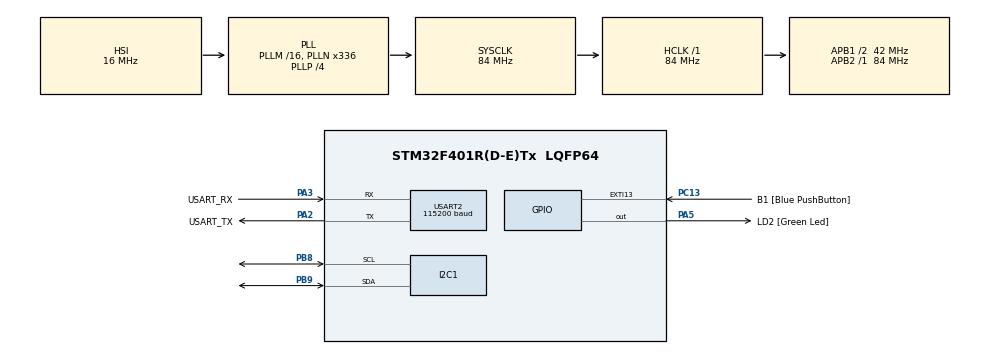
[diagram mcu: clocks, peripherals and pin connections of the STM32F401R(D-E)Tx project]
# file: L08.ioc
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Dma.I2C1_RX.0.Direction=DMA_PERIPH_TO_MEMORY
Dma.I2C1_RX.0.FIFOMode=DMA_FIFOMODE_DISABLE
Dma.I2C1_RX.0.Instance=DMA1_Stream0
Dma.I2C1_RX.0.MemDataAlignment=DMA_MDATAALIGN_BYTE
Dma.I2C1_RX.0.MemInc=DMA_MINC_ENABLE
Dma.I2C1_RX.0.Mode=DMA_NORMAL
Dma.I2C1_RX.0.PeriphDataAlignment=DMA_PDATAALIGN_BYTE
Dma.I2C1_RX.0.PeriphInc=DMA_PINC_DISABLE
Dma.I2C1_RX.0.Priority=DMA_PRIORITY_LOW
Dma.I2C1_TX.1.Direction=DMA_MEMORY_TO_PERIPH
Dma.I2C1_TX.1.FIFOMode=DMA_FIFOMODE_DISABLE
Dma.I2C1_TX.1.Instance=DMA1_Stream7
Dma.I2C1_TX.1.MemDataAlignment=DMA_MDATAALIGN_BYTE
Dma.I2C1_TX.1.MemInc=DMA_MINC_ENABLE
Dma.I2C1_TX.1.Mode=DMA_NORMAL
Dma.I2C1_TX.1.PeriphDataAlignment=DMA_PDATAALIGN_BYTE
Dma.I2C1_TX.1.PeriphInc=DMA_PINC_DISABLE
Dma.I2C1_TX.1.Priority=DMA_PRIORITY_LOW
Dma.Request0=I2C1_RX
Dma.Request1=I2C1_TX
Dma.Request2=USART2_TX
Dma.USART2_TX.2.Direction=DMA_MEMORY_TO_PERIPH
Dma.USART2_TX.2.FIFOMode=DMA_FIFOMODE_DISABLE
Dma.USART2_TX.2.Instance=DMA1_Stream6
Dma.USART2_TX.2.MemDataAlignment=DMA_MDATAALIGN_BYTE
Dma.USART2_TX.2.MemInc=DMA_MINC_ENABLE
Dma.USART2_TX.2.Mode=DMA_NORMAL
Dma.USART2_TX.2.PeriphDataAlignment=DMA_PDATAALIGN_BYTE
Dma.USART2_TX.2.PeriphInc=DMA_PINC_DISABLE
Dma.USART2_TX.2.Priority=DMA_PRIORITY_LOW
Mcu.Family=STM32F4
Mcu.Name=STM32F401R(D-E)Tx
Mcu.Package=LQFP64
NVIC.DMA1_Stream0_IRQn=true\:1\:0\:true\:false\:true\:false\:true\:true
NVIC.DMA1_Stream6_IRQn=true\:1\:0\:true\:false\:true\:false\:true\:true
NVIC.DMA1_Stream7_IRQn=true\:1\:0\:true\:false\:true\:false\:true\:true
NVIC.I2C1_ER_IRQn=true\:0\:0\:false\:false\:true\:true\:true\:true
NVIC.I2C1_EV_IRQn=true\:0\:0\:false\:false\:true\:true\:true\:true
NVIC.PriorityGroup=NVIC_PRIORITYGROUP_1
NVIC.TIM3_IRQn=true\:0\:0\:false\:false\:true\:true\:true\:true
NVIC.USART2_IRQn=true\:0\:0\:false\:false\:true\:true\:true\:true
PA13.GPIO_Label=TMS
PA13.Mode=Serial_Wire
PA13.Signal=SYS_JTMS-SWDIO
PA14.GPIO_Label=TCK
PA14.Mode=Serial_Wire
PA14.Signal=SYS_JTCK-SWCLK
PA2.GPIO_Label=USART_TX
PA2.GPIO_Mode=GPIO_MODE_AF_PP
PA2.GPIO_PuPd=GPIO_NOPULL
PA2.GPIO_Speed=GPIO_SPEED_FREQ_LOW
PA2.Mode=Asynchronous
PA2.Signal=USART2_TX
PA3.GPIO_Label=USART_RX
PA3.GPIO_Mode=GPIO_MODE_AF_PP
PA3.GPIO_PuPd=GPIO_NOPULL
PA3.GPIO_Speed=GPIO_SPEED_FREQ_LOW
PA3.Mode=Asynchronous
PA3.Signal=USART2_RX
PA5.GPIO_Label=LD2 [Green Led]
PA5.GPIO_Mode=GPIO_MODE_OUTPUT_PP
PA5.GPIO_PuPd=GPIO_NOPULL
PA5.GPIO_Speed=GPIO_SPEED_FREQ_LOW
PA5.Signal=GPIO_Output
PB3.GPIO_Label=SWO
PB3.Signal=SYS_JTDO-SWO
PB8.Mode=I2C
PB8.Signal=I2C1_SCL
PB9.Mode=I2C
PB9.Signal=I2C1_SDA
PC13-ANTI_TAMP.GPIO_Label=B1 [Blue PushButton]
PC13-ANTI_TAMP.GPIO_ModeDefaultEXTI=GPIO_MODE_IT_FALLING
PC13-ANTI_TAMP.GPIO_PuPd=GPIO_NOPULL
PC13-ANTI_TAMP.Signal=GPXTI13
PC14-OSC32_IN.Mode=LSE-External-Oscillator
PC14-OSC32_IN.Signal=RCC_OSC32_IN
PC15-OSC32_OUT.Mode=LSE-External-Oscillator
PC15-OSC32_OUT.Signal=RCC_OSC32_OUT
PH0\ -\ OSC_IN.Mode=HSE-External-Clock-Source
PH0\ -\ OSC_IN.Signal=RCC_OSC_IN
PH1\ -\ OSC_OUT.Mode=HSE-External-Clock-Source
PH1\ -\ OSC_OUT.Signal=RCC_OSC_OUT
ProjectManager.HeapSize=0x200
ProjectManager.StackSize=0x400
ProjectManager.TargetToolchain=STM32CubeIDE
RCC.48MHZClocksFreq_Value=48000000
RCC.AHBFreq_Value=84000000
RCC.APB1CLKDivider=RCC_HCLK_DIV2
RCC.APB1Freq_Value=42000000
RCC.APB1TimFreq_Value=84000000
RCC.APB2Freq_Value=84000000
RCC.APB2TimFreq_Value=84000000
RCC.CortexFreq_Value=84000000
RCC.HCLKFreq_Value=84000000
RCC.HSE_VALUE=8000000
RCC.HSI_VALUE=16000000
RCC.PLLN=336
RCC.PLLP=RCC_PLLP_DIV4
RCC.PLLQ=7
RCC.SYSCLKFreq_VALUE=84000000
RCC.SYSCLKSource=RCC_SYSCLKSOURCE_PLLCLK
RCC.VCOOutputFreq_Value=336000000
TIM3.Period=9999
TIM3.Prescaler=8399
USART2.BaudRate=115200
USART2.VirtualMode=VM_ASYNC
VP_TIM3_VS_ClockSourceINT.Mode=Internal
board=NUCLEO-F401RE

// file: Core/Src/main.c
/* USER CODE BEGIN Header */
/**
  ******************************************************************************
  * @file           : main.c
  * @brief          : Main program body
  ******************************************************************************
  * @attention
  *
  * Copyright (c) 2024 STMicroelectronics.
  * All rights reserved.
  *
  * This software is licensed under terms that can be found in the LICENSE file
  * in the root directory of this software component.
  * If no LICENSE file comes with this software, it is provided AS-IS.
  *
  ******************************************************************************
  */
/* USER CODE END Header */
#include "main.h"

/* USER CODE BEGIN Includes */
#include <stdio.h>
/* USER CODE END Includes */

I2C_HandleTypeDef hi2c1;
DMA_HandleTypeDef hdma_i2c1_rx;
DMA_HandleTypeDef hdma_i2c1_tx;

TIM_HandleTypeDef htim3;

UART_HandleTypeDef huart2;
DMA_HandleTypeDef hdma_usart2_tx;

void SystemClock_Config(void);
static void MX_GPIO_Init(void);
static void MX_DMA_Init(void);
static void MX_USART2_UART_Init(void);
static void MX_I2C1_Init(void);
static void MX_TIM3_Init(void);

/* USER CODE BEGIN 0 */
uint16_t address = 0b01010000;			// write address of LIS2DE; accelerometer of my board
uint16_t LIS2DE12_address = 0b0011000;	// write address of LIS2DE12
uint8_t ctrl_reg1[] = {0x20, 0b00010111};	// address of ctrl_reg1 and byte to configure it
uint8_t OUT_X = 0b10101001;	// address of first axis measurement
int8_t array[5]; 				// array to store acceleration bytes
char string[128];				// string to be transmitted through UART
int length;						// length of string
/* USER CODE END 0 */

int main(void)
{

  /* MCU Configuration--------------------------------------------------------*/

  /* Reset of all peripherals, Initializes the Flash interface and the Systick. */
  HAL_Init();

  /* Configure the system clock */
  SystemClock_Config();

  /* Initialize all configured peripherals */
  MX_GPIO_Init();
  MX_DMA_Init();
  MX_USART2_UART_Init();
  MX_I2C1_Init();
  MX_TIM3_Init();
  /* USER CODE BEGIN 2 */
  // Ok to block/use polling for configuring since we know the processor doesn't have to do anything else
  if (HAL_I2C_Master_Transmit(&hi2c1, LIS2DE12_address, ctrl_reg1, 2, 50) == HAL_OK) {
	  address = LIS2DE12_address; // change address for rest of the code if different accelerometer
  } else {
	  HAL_I2C_Master_Transmit(&hi2c1, address, ctrl_reg1, 2, 50);
  }
  HAL_I2C_Master_Transmit(&hi2c1, address, &OUT_X, 1, 50);	// transmit address of first axis

  HAL_TIM_Base_Start_IT(&htim3);
  /* USER CODE END 2 */

  /* Infinite loop */
  while (1)
  {

  }
}

void SystemClock_Config(void)
{
  RCC_OscInitTypeDef RCC_OscInitStruct = {0};
  RCC_ClkInitTypeDef RCC_ClkInitStruct = {0};

  /** Configure the main internal regulator output voltage
  */
  __HAL_RCC_PWR_CLK_ENABLE();
  __HAL_PWR_VOLTAGESCALING_CONFIG(PWR_REGULATOR_VOLTAGE_SCALE2);

  /** Initializes the RCC Oscillators according to the specified parameters
  * in the RCC_OscInitTypeDef structure.
  */
  RCC_OscInitStruct.OscillatorType = RCC_OSCILLATORTYPE_HSI;
  RCC_OscInitStruct.HSIState = RCC_HSI_ON;
  RCC_OscInitStruct.HSICalibrationValue = RCC_HSICALIBRATION_DEFAULT;
  RCC_OscInitStruct.PLL.PLLState = RCC_PLL_ON;
  RCC_OscInitStruct.PLL.PLLSource = RCC_PLLSOURCE_HSI;
  RCC_OscInitStruct.PLL.PLLM = 16;
  RCC_OscInitStruct.PLL.PLLN = 336;
  RCC_OscInitStruct.PLL.PLLP = RCC_PLLP_DIV4;
  RCC_OscInitStruct.PLL.PLLQ = 7;
  if (HAL_RCC_OscConfig(&RCC_OscInitStruct) != HAL_OK)
  {
    Error_Handler();
  }

  /** Initializes the CPU, AHB and APB buses clocks
  */
  RCC_ClkInitStruct.ClockType = RCC_CLOCKTYPE_HCLK|RCC_CLOCKTYPE_SYSCLK
                              |RCC_CLOCKTYPE_PCLK1|RCC_CLOCKTYPE_PCLK2;
  RCC_ClkInitStruct.SYSCLKSource = RCC_SYSCLKSOURCE_PLLCLK;
  RCC_ClkInitStruct.AHBCLKDivider = RCC_SYSCLK_DIV1;
  RCC_ClkInitStruct.APB1CLKDivider = RCC_HCLK_DIV2;
  RCC_ClkInitStruct.APB2CLKDivider = RCC_HCLK_DIV1;

  if (HAL_RCC_ClockConfig(&RCC_ClkInitStruct, FLASH_LATENCY_2) != HAL_OK)
  {
    Error_Handler();
  }
}

static void MX_I2C1_Init(void)
{

  hi2c1.Instance = I2C1;
  hi2c1.Init.ClockSpeed = 100000;
  hi2c1.Init.DutyCycle = I2C_DUTYCYCLE_2;
  hi2c1.Init.OwnAddress1 = 0;
  hi2c1.Init.AddressingMode = I2C_ADDRESSINGMODE_7BIT;
  hi2c1.Init.DualAddressMode = I2C_DUALADDRESS_DISABLE;
  hi2c1.Init.OwnAddress2 = 0;
  hi2c1.Init.GeneralCallMode = I2C_GENERALCALL_DISABLE;
  hi2c1.Init.NoStretchMode = I2C_NOSTRETCH_DISABLE;
  if (HAL_I2C_Init(&hi2c1) != HAL_OK)
  {
    Error_Handler();
  }

}

static void MX_TIM3_Init(void)
{

  TIM_ClockConfigTypeDef sClockSourceConfig = {0};
  TIM_MasterConfigTypeDef sMasterConfig = {0};

  htim3.Instance = TIM3;
  htim3.Init.Prescaler = 8399;
  htim3.Init.CounterMode = TIM_COUNTERMODE_UP;
  htim3.Init.Period = 9999;
  htim3.Init.ClockDivision = TIM_CLOCKDIVISION_DIV1;
  htim3.Init.AutoReloadPreload = TIM_AUTORELOAD_PRELOAD_DISABLE;
  if (HAL_TIM_Base_Init(&htim3) != HAL_OK)
  {
    Error_Handler();
  }
  sClockSourceConfig.ClockSource = TIM_CLOCKSOURCE_INTERNAL;
  if (HAL_TIM_ConfigClockSource(&htim3, &sClockSourceConfig) != HAL_OK)
  {
    Error_Handler();
  }
  sMasterConfig.MasterOutputTrigger = TIM_TRGO_RESET;
  sMasterConfig.MasterSlaveMode = TIM_MASTERSLAVEMODE_DISABLE;
  if (HAL_TIMEx_MasterConfigSynchronization(&htim3, &sMasterConfig) != HAL_OK)
  {
    Error_Handler();
  }

}

static void MX_USART2_UART_Init(void)
{

  huart2.Instance = USART2;
  huart2.Init.BaudRate = 115200;
  huart2.Init.WordLength = UART_WORDLENGTH_8B;
  huart2.Init.StopBits = UART_STOPBITS_1;
  huart2.Init.Parity = UART_PARITY_NONE;
  huart2.Init.Mode = UART_MODE_TX_RX;
  huart2.Init.HwFlowCtl = UART_HWCONTROL_NONE;
  huart2.Init.OverSampling = UART_OVERSAMPLING_16;
  if (HAL_UART_Init(&huart2) != HAL_OK)
  {
    Error_Handler();
  }

}

static void MX_DMA_Init(void)
{

  /* DMA controller clock enable */
  __HAL_RCC_DMA1_CLK_ENABLE();

  /* DMA interrupt init */
  /* DMA1_Stream0_IRQn interrupt configuration */
  HAL_NVIC_SetPriority(DMA1_Stream0_IRQn, 1, 0);
  HAL_NVIC_EnableIRQ(DMA1_Stream0_IRQn);
  /* DMA1_Stream6_IRQn interrupt configuration */
  HAL_NVIC_SetPriority(DMA1_Stream6_IRQn, 1, 0);
  HAL_NVIC_EnableIRQ(DMA1_Stream6_IRQn);
  /* DMA1_Stream7_IRQn interrupt configuration */
  HAL_NVIC_SetPriority(DMA1_Stream7_IRQn, 1, 0);
  HAL_NVIC_EnableIRQ(DMA1_Stream7_IRQn);

}

static void MX_GPIO_Init(void)
{
  GPIO_InitTypeDef GPIO_InitStruct = {0};

  /* GPIO Ports Clock Enable */
  __HAL_RCC_GPIOC_CLK_ENABLE();
  __HAL_RCC_GPIOH_CLK_ENABLE();
  __HAL_RCC_GPIOA_CLK_ENABLE();
  __HAL_RCC_GPIOB_CLK_ENABLE();

  /*Configure GPIO pin Output Level */
  HAL_GPIO_WritePin(LD2_GPIO_Port, LD2_Pin, GPIO_PIN_RESET);

  /*Configure GPIO pin : B1_Pin */
  GPIO_InitStruct.Pin = B1_Pin;
  GPIO_InitStruct.Mode = GPIO_MODE_IT_FALLING;
  GPIO_InitStruct.Pull = GPIO_NOPULL;
  HAL_GPIO_Init(B1_GPIO_Port, &GPIO_InitStruct);

  /*Configure GPIO pin : LD2_Pin */
  GPIO_InitStruct.Pin = LD2_Pin;
  GPIO_InitStruct.Mode = GPIO_MODE_OUTPUT_PP;
  GPIO_InitStruct.Pull = GPIO_NOPULL;
  GPIO_InitStruct.Speed = GPIO_SPEED_FREQ_LOW;
  HAL_GPIO_Init(LD2_GPIO_Port, &GPIO_InitStruct);

}

/* USER CODE BEGIN 4 */
// We nest the callback functions to make sure each function is called only after the previous one was successful.

void HAL_TIM_PeriodElapsedCallback(TIM_HandleTypeDef *htim) {
	if (htim->Instance == TIM3) {
		//HAL_I2C_Master_Transmit_DMA(&hi2c1, address, &OUT_X, 1);	// transmit address of first axis
		HAL_I2C_Master_Receive_DMA(&hi2c1, address+1, array, 5);	// read 5 bytes from address of x axis; this allows us to get all 3 measurements
		//HAL_I2C_Mem_Read_DMA(&hi2c1, address, OUT_X, I2C_MEMADD_SIZE_8BIT, array, 5); // alternative that requires only one callback
	}
}
/*
void HAL_I2C_MasterTxCpltCallback(I2C_HandleTypeDef *hi2c){
	HAL_I2C_Master_Receive_DMA(&hi2c1, address+1, array, 5);	// read 5 bytes from address of x axis; this allows us to get all 3 measurements
}*/

void HAL_I2C_MasterRxCpltCallback(I2C_HandleTypeDef *hi2c){
	int8_t x_acc = array[0];
	int8_t y_acc = array[2];
	int8_t z_acc = array[4];
	float x_g_acc = x_acc/64.0;
	float y_g_acc = y_acc/64.0;
	float z_g_acc = z_acc/64.0;
	length = snprintf(string, sizeof(string), "X: %.2f g\nY: %.2f g\nZ: %.2f g\n", x_g_acc, y_g_acc, z_g_acc);
	HAL_UART_Transmit_DMA(&huart2, string, length);
}

/*
void HAL_I2C_MemRxCpltCallback(I2C_HandleTypeDef *hi2c) {
	int8_t x_acc = array[0];
	int8_t y_acc = array[2];
	int8_t z_acc = array[4];
	float x_g_acc = x_acc/64.0;
	float y_g_acc = y_acc/64.0;
	float z_g_acc = z_acc/64.0;
	length = snprintf(string, sizeof(string), "X acceleration: %.2f g\nY acceleration: %.2f g\nZ acceleration: %.2f g\n", x_g_acc, y_g_acc, z_g_acc);
	HAL_UART_Transmit_DMA(&huart2, string, length);
}*/

/* USER CODE END 4 */

void Error_Handler(void)
{
  __disable_irq();
  while (1)
  {
  }
}
